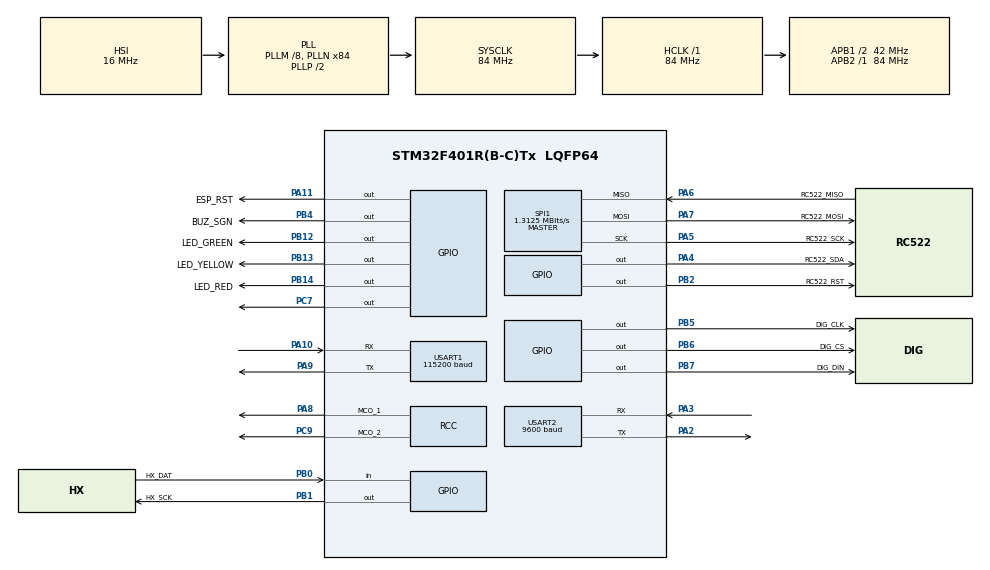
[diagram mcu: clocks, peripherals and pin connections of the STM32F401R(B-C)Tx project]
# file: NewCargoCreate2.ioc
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Mcu.Family=STM32F4
Mcu.Name=STM32F401R(B-C)Tx
Mcu.Package=LQFP64
NVIC.PriorityGroup=NVIC_PRIORITYGROUP_4
NVIC.USART1_IRQn=true\:0\:0\:false\:false\:true\:true\:true\:true
NVIC.USART2_IRQn=true\:0\:0\:false\:false\:true\:true\:true\:true
PA10.Mode=Asynchronous
PA10.Signal=USART1_RX
PA11.GPIO_Label=ESP_RST
PA11.Signal=GPIO_Output
PA2.Mode=Asynchronous
PA2.Signal=USART2_TX
PA3.Mode=Asynchronous
PA3.Signal=USART2_RX
PA4.GPIO_Label=RC522_SDA
PA4.Signal=GPIO_Output
PA5.GPIO_Label=RC522_SCK
PA5.Mode=Full_Duplex_Master
PA5.Signal=SPI1_SCK
PA6.GPIO_Label=RC522_MISO
PA6.Mode=Full_Duplex_Master
PA6.Signal=SPI1_MISO
PA7.GPIO_Label=RC522_MOSI
PA7.Mode=Full_Duplex_Master
PA7.Signal=SPI1_MOSI
PA8.Mode=Clock-out-1
PA8.Signal=RCC_MCO_1
PA9.Mode=Asynchronous
PA9.Signal=USART1_TX
PB0.GPIO_Label=HX_DAT
PB0.GPIO_PuPd=GPIO_PULLUP
PB0.Signal=GPIO_Input
PB1.GPIO_Label=HX_SCK
PB1.Signal=GPIO_Output
PB12.GPIO_Label=LED_GREEN
PB12.GPIO_PuPd=GPIO_PULLDOWN
PB12.PinState=GPIO_PIN_RESET
PB12.Signal=GPIO_Output
PB13.GPIO_Label=LED_YELLOW
PB13.GPIO_PuPd=GPIO_PULLDOWN
PB13.PinState=GPIO_PIN_RESET
PB13.Signal=GPIO_Output
PB14.GPIO_Label=LED_RED
PB14.GPIO_PuPd=GPIO_PULLDOWN
PB14.PinState=GPIO_PIN_RESET
PB14.Signal=GPIO_Output
PB2.GPIO_Label=RC522_RST
PB2.Signal=GPIO_Output
PB4.GPIO_Label=BUZ_SGN
PB4.GPIO_PuPd=GPIO_PULLUP
PB4.PinState=GPIO_PIN_SET
PB4.Signal=GPIO_Output
PB5.GPIO_Label=DIG_CLK
PB5.Signal=GPIO_Output
PB6.GPIO_Label=DIG_CS
PB6.Signal=GPIO_Output
PB7.GPIO_Label=DIG_DIN
PB7.Signal=GPIO_Output
PC14-OSC32_IN.Mode=LSE-External-Oscillator
PC14-OSC32_IN.Signal=RCC_OSC32_IN
PC15-OSC32_OUT.Mode=LSE-External-Oscillator
PC15-OSC32_OUT.Signal=RCC_OSC32_OUT
PC7.Signal=GPIO_Output
PC9.Mode=Clock-out-2
PC9.Signal=RCC_MCO_2
PH0\ -\ OSC_IN.Mode=HSE-External-Oscillator
PH0\ -\ OSC_IN.Signal=RCC_OSC_IN
PH1\ -\ OSC_OUT.Mode=HSE-External-Oscillator
PH1\ -\ OSC_OUT.Signal=RCC_OSC_OUT
ProjectManager.HeapSize=0x200
ProjectManager.StackSize=0x400
ProjectManager.TargetToolchain=STM32CubeIDE
RCC.48MHZClocksFreq_Value=42000000
RCC.AHBFreq_Value=84000000
RCC.APB1CLKDivider=RCC_HCLK_DIV2
RCC.APB1Freq_Value=42000000
RCC.APB1TimFreq_Value=84000000
RCC.APB2Freq_Value=84000000
RCC.APB2TimFreq_Value=84000000
RCC.CortexFreq_Value=84000000
RCC.HCLKFreq_Value=84000000
RCC.HSE_VALUE=25000000
RCC.HSI_VALUE=16000000
RCC.PLLM=8
RCC.PLLN=84
RCC.SYSCLKFreq_VALUE=84000000
RCC.SYSCLKSource=RCC_SYSCLKSOURCE_PLLCLK
RCC.VCOOutputFreq_Value=168000000
SPI1.BaudRatePrescaler=SPI_BAUDRATEPRESCALER_64
SPI1.CalculateBaudRate=1.3125 MBits/s
SPI1.Direction=SPI_DIRECTION_2LINES
SPI1.Mode=SPI_MODE_MASTER
SPI1.VirtualType=VM_MASTER
USART1.BaudRate=115200
USART1.VirtualMode=VM_ASYNC
USART2.BaudRate=9600
USART2.VirtualMode=VM_ASYNC
board=custom

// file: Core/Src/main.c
/* USER CODE BEGIN Header */
/**
  ******************************************************************************
  * @file           : main.c
  * @brief          : Main program body
  ******************************************************************************
  * @attention
  *
  * Copyright (c) 2025 STMicroelectronics.
  * All rights reserved.
  *
  * This software is licensed under terms that can be found in the LICENSE file
  * in the root directory of this software component.
  * If no LICENSE file comes with this software, it is provided AS-IS.
  *
  ******************************************************************************
  */
/* USER CODE END Header */
#include "main.h"

/* USER CODE BEGIN Includes */
#include "Wifi/wifi.h"
#include "Huawei/huawei.h"
#include "Message/message.h"
#include "BLE/ble.h"
#include "RC522/rfid_uid.h"
#include "RC522/rc522.h"
#include "Data/data.h"
#include "HX711/hx711.h"
#include "DIG/dig.h"
#include "LED/led.h"
#include "BUZZER/buzzer.h"
/* USER CODE END Includes */

SPI_HandleTypeDef hspi1;

UART_HandleTypeDef huart1;
UART_HandleTypeDef huart2;

void SystemClock_Config(void);
static void MX_GPIO_Init(void);
static void MX_USART1_UART_Init(void);
static void MX_USART2_UART_Init(void);
static void MX_SPI1_Init(void);

/* USER CODE BEGIN 0 */
uint8_t work = 0;
uint8_t msg_to_handle = 0;
char* requestID = NULL;
cJSON* json;
char uid[9];
uint8_t waiting = 0;
extern uint32_t Weight_Maopi;
extern uint32_t Weight_Shiwu;
/* USER CODE END 0 */

int main(void)
{

  /* MCU Configuration--------------------------------------------------------*/

  /* Reset of all peripherals, Initializes the Flash interface and the Systick. */
  HAL_Init();

  /* Configure the system clock */
  SystemClock_Config();

  /* Initialize all configured peripherals */
  MX_GPIO_Init();
  MX_USART1_UART_Init();
  MX_USART2_UART_Init();
  MX_SPI1_Init();
  /* USER CODE BEGIN 2 */
  WIFI_OPEN_RECEIVE();
  BLE_RECV_INIT();
  DIG_Init();
  PCD_Init();
  Get_Maopi();
  LED_Red_On();
  /* USER CODE END 2 */

  /* Infinite loop */
  /* USER CODE BEGIN WHILE */
  while (1)
  {
	  while (BLE_GetStatus() == BLE_WAITING_FOR_CONNECTION);
	  while (!work) {
		if (!WIFI_INIT() || !HUAWEI_INIT()) {
			BLE_ChangeStatus(BLE_CONNECTION_FAILED);
			BLE_SET_STATUS();
			BUZZER_Fail();
			LED_CheckAndChange(work, waiting);
			while (BLE_GetStatus() == BLE_CONNECTION_FAILED);
			continue;
		}
		work = 1;
		LED_CheckAndChange(work, waiting);
		BUZZER_Success();
		BLE_ChangeStatus(BLE_CONNECTED);
		BLE_SET_STATUS();
	  }
	  LED_CheckAndChange(work, waiting);
	  Get_Weight();
	  DIG_ShowWeight(Weight_Shiwu);
	  if (RFID_GET_UUID(uid) && !waiting) {
		  char* data = DATA_Get_CargoCreate(uid, Weight_Shiwu);
		  if (HUAWEI_SEND_MESSAGE(data)) waiting = 1;
	  }
	  msg_is_checked = 1;
	  json = MESSAGE_MERGER(&requestID);
	  if (json != NULL) {
		  uint8_t status = MESSAGE_Analyse(json);
		  if (status) {
			  BUZZER_Success();
		  } else {
			  BUZZER_Fail();
		  }
	  }
	  cJSON_Delete(json);
	  free(requestID);
	  requestID = NULL;
	  MESSAGE_CHECK_AND_CLEAR();
    /* USER CODE END WHILE */

  }
}

void SystemClock_Config(void)
{
  RCC_OscInitTypeDef RCC_OscInitStruct = {0};
  RCC_ClkInitTypeDef RCC_ClkInitStruct = {0};

  /** Configure the main internal regulator output voltage
  */
  __HAL_RCC_PWR_CLK_ENABLE();
  __HAL_PWR_VOLTAGESCALING_CONFIG(PWR_REGULATOR_VOLTAGE_SCALE2);

  /** Initializes the RCC Oscillators according to the specified parameters
  * in the RCC_OscInitTypeDef structure.
  */
  RCC_OscInitStruct.OscillatorType = RCC_OSCILLATORTYPE_HSI;
  RCC_OscInitStruct.HSIState = RCC_HSI_ON;
  RCC_OscInitStruct.HSICalibrationValue = RCC_HSICALIBRATION_DEFAULT;
  RCC_OscInitStruct.PLL.PLLState = RCC_PLL_ON;
  RCC_OscInitStruct.PLL.PLLSource = RCC_PLLSOURCE_HSI;
  RCC_OscInitStruct.PLL.PLLM = 8;
  RCC_OscInitStruct.PLL.PLLN = 84;
  RCC_OscInitStruct.PLL.PLLP = RCC_PLLP_DIV2;
  RCC_OscInitStruct.PLL.PLLQ = 4;
  if (HAL_RCC_OscConfig(&RCC_OscInitStruct) != HAL_OK)
  {
    Error_Handler();
  }

  /** Initializes the CPU, AHB and APB buses clocks
  */
  RCC_ClkInitStruct.ClockType = RCC_CLOCKTYPE_HCLK|RCC_CLOCKTYPE_SYSCLK
                              |RCC_CLOCKTYPE_PCLK1|RCC_CLOCKTYPE_PCLK2;
  RCC_ClkInitStruct.SYSCLKSource = RCC_SYSCLKSOURCE_PLLCLK;
  RCC_ClkInitStruct.AHBCLKDivider = RCC_SYSCLK_DIV1;
  RCC_ClkInitStruct.APB1CLKDivider = RCC_HCLK_DIV2;
  RCC_ClkInitStruct.APB2CLKDivider = RCC_HCLK_DIV1;

  if (HAL_RCC_ClockConfig(&RCC_ClkInitStruct, FLASH_LATENCY_2) != HAL_OK)
  {
    Error_Handler();
  }
  HAL_RCC_MCOConfig(RCC_MCO1, RCC_MCO1SOURCE_HSI, RCC_MCODIV_1);
  HAL_RCC_MCOConfig(RCC_MCO2, RCC_MCO2SOURCE_SYSCLK, RCC_MCODIV_1);
}

static void MX_SPI1_Init(void)
{

  /* SPI1 parameter configuration*/
  hspi1.Instance = SPI1;
  hspi1.Init.Mode = SPI_MODE_MASTER;
  hspi1.Init.Direction = SPI_DIRECTION_2LINES;
  hspi1.Init.DataSize = SPI_DATASIZE_8BIT;
  hspi1.Init.CLKPolarity = SPI_POLARITY_LOW;
  hspi1.Init.CLKPhase = SPI_PHASE_1EDGE;
  hspi1.Init.NSS = SPI_NSS_SOFT;
  hspi1.Init.BaudRatePrescaler = SPI_BAUDRATEPRESCALER_64;
  hspi1.Init.FirstBit = SPI_FIRSTBIT_MSB;
  hspi1.Init.TIMode = SPI_TIMODE_DISABLE;
  hspi1.Init.CRCCalculation = SPI_CRCCALCULATION_DISABLE;
  hspi1.Init.CRCPolynomial = 10;
  if (HAL_SPI_Init(&hspi1) != HAL_OK)
  {
    Error_Handler();
  }

}

static void MX_USART1_UART_Init(void)
{

  huart1.Instance = USART1;
  huart1.Init.BaudRate = 115200;
  huart1.Init.WordLength = UART_WORDLENGTH_8B;
  huart1.Init.StopBits = UART_STOPBITS_1;
  huart1.Init.Parity = UART_PARITY_NONE;
  huart1.Init.Mode = UART_MODE_TX_RX;
  huart1.Init.HwFlowCtl = UART_HWCONTROL_NONE;
  huart1.Init.OverSampling = UART_OVERSAMPLING_16;
  if (HAL_UART_Init(&huart1) != HAL_OK)
  {
    Error_Handler();
  }

}

static void MX_USART2_UART_Init(void)
{

  huart2.Instance = USART2;
  huart2.Init.BaudRate = 9600;
  huart2.Init.WordLength = UART_WORDLENGTH_8B;
  huart2.Init.StopBits = UART_STOPBITS_1;
  huart2.Init.Parity = UART_PARITY_NONE;
  huart2.Init.Mode = UART_MODE_TX_RX;
  huart2.Init.HwFlowCtl = UART_HWCONTROL_NONE;
  huart2.Init.OverSampling = UART_OVERSAMPLING_16;
  if (HAL_UART_Init(&huart2) != HAL_OK)
  {
    Error_Handler();
  }

}

static void MX_GPIO_Init(void)
{
  GPIO_InitTypeDef GPIO_InitStruct = {0};

  /* GPIO Ports Clock Enable */
  __HAL_RCC_GPIOC_CLK_ENABLE();
  __HAL_RCC_GPIOH_CLK_ENABLE();
  __HAL_RCC_GPIOA_CLK_ENABLE();
  __HAL_RCC_GPIOB_CLK_ENABLE();

  /*Configure GPIO pin Output Level */
  HAL_GPIO_WritePin(GPIOA, RC522_SDA_Pin|ESP_RST_Pin, GPIO_PIN_RESET);

  /*Configure GPIO pin Output Level */
  HAL_GPIO_WritePin(GPIOB, HX_SCK_Pin|RC522_RST_Pin|LED_GREEN_Pin|LED_YELLOW_Pin
                          |LED_RED_Pin|DIG_CLK_Pin|DIG_CS_Pin|DIG_DIN_Pin, GPIO_PIN_RESET);

  /*Configure GPIO pin Output Level */
  HAL_GPIO_WritePin(GPIOC, GPIO_PIN_7, GPIO_PIN_RESET);

  /*Configure GPIO pin Output Level */
  HAL_GPIO_WritePin(BUZ_SGN_GPIO_Port, BUZ_SGN_Pin, GPIO_PIN_SET);

  /*Configure GPIO pins : RC522_SDA_Pin ESP_RST_Pin */
  GPIO_InitStruct.Pin = RC522_SDA_Pin|ESP_RST_Pin;
  GPIO_InitStruct.Mode = GPIO_MODE_OUTPUT_PP;
  GPIO_InitStruct.Pull = GPIO_NOPULL;
  GPIO_InitStruct.Speed = GPIO_SPEED_FREQ_LOW;
  HAL_GPIO_Init(GPIOA, &GPIO_InitStruct);

  /*Configure GPIO pin : HX_DAT_Pin */
  GPIO_InitStruct.Pin = HX_DAT_Pin;
  GPIO_InitStruct.Mode = GPIO_MODE_INPUT;
  GPIO_InitStruct.Pull = GPIO_PULLUP;
  HAL_GPIO_Init(HX_DAT_GPIO_Port, &GPIO_InitStruct);

  /*Configure GPIO pins : HX_SCK_Pin RC522_RST_Pin DIG_CLK_Pin DIG_CS_Pin
                           DIG_DIN_Pin */
  GPIO_InitStruct.Pin = HX_SCK_Pin|RC522_RST_Pin|DIG_CLK_Pin|DIG_CS_Pin
                          |DIG_DIN_Pin;
  GPIO_InitStruct.Mode = GPIO_MODE_OUTPUT_PP;
  GPIO_InitStruct.Pull = GPIO_NOPULL;
  GPIO_InitStruct.Speed = GPIO_SPEED_FREQ_LOW;
  HAL_GPIO_Init(GPIOB, &GPIO_InitStruct);

  /*Configure GPIO pins : LED_GREEN_Pin LED_YELLOW_Pin LED_RED_Pin */
  GPIO_InitStruct.Pin = LED_GREEN_Pin|LED_YELLOW_Pin|LED_RED_Pin;
  GPIO_InitStruct.Mode = GPIO_MODE_OUTPUT_PP;
  GPIO_InitStruct.Pull = GPIO_PULLDOWN;
  GPIO_InitStruct.Speed = GPIO_SPEED_FREQ_LOW;
  HAL_GPIO_Init(GPIOB, &GPIO_InitStruct);

  /*Configure GPIO pin : PC7 */
  GPIO_InitStruct.Pin = GPIO_PIN_7;
  GPIO_InitStruct.Mode = GPIO_MODE_OUTPUT_PP;
  GPIO_InitStruct.Pull = GPIO_NOPULL;
  GPIO_InitStruct.Speed = GPIO_SPEED_FREQ_LOW;
  HAL_GPIO_Init(GPIOC, &GPIO_InitStruct);

  /*Configure GPIO pin : PC9 */
  GPIO_InitStruct.Pin = GPIO_PIN_9;
  GPIO_InitStruct.Mode = GPIO_MODE_AF_PP;
  GPIO_InitStruct.Pull = GPIO_NOPULL;
  GPIO_InitStruct.Speed = GPIO_SPEED_FREQ_LOW;
  GPIO_InitStruct.Alternate = GPIO_AF0_MCO;
  HAL_GPIO_Init(GPIOC, &GPIO_InitStruct);

  /*Configure GPIO pin : PA8 */
  GPIO_InitStruct.Pin = GPIO_PIN_8;
  GPIO_InitStruct.Mode = GPIO_MODE_AF_PP;
  GPIO_InitStruct.Pull = GPIO_NOPULL;
  GPIO_InitStruct.Speed = GPIO_SPEED_FREQ_LOW;
  GPIO_InitStruct.Alternate = GPIO_AF0_MCO;
  HAL_GPIO_Init(GPIOA, &GPIO_InitStruct);

  /*Configure GPIO pin : BUZ_SGN_Pin */
  GPIO_InitStruct.Pin = BUZ_SGN_Pin;
  GPIO_InitStruct.Mode = GPIO_MODE_OUTPUT_PP;
  GPIO_InitStruct.Pull = GPIO_PULLUP;
  GPIO_InitStruct.Speed = GPIO_SPEED_FREQ_LOW;
  HAL_GPIO_Init(BUZ_SGN_GPIO_Port, &GPIO_InitStruct);

}

/* USER CODE BEGIN 4 */
void HAL_UART_RxCpltCallback(UART_HandleTypeDef *huart){
	if (huart == &huart1)
		WIFI_CALLBACK();
	else if (huart == &huart2)
		BLE_CALLBACK();
}
/* USER CODE END 4 */

void Error_Handler(void)
{
  __disable_irq();
  while (1)
  {
  }
}
